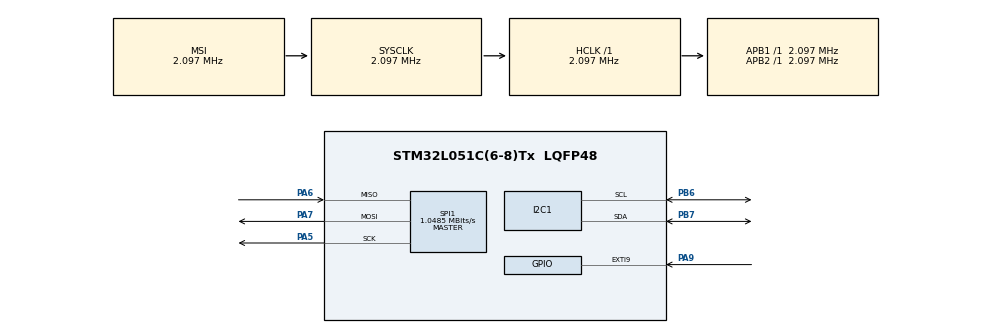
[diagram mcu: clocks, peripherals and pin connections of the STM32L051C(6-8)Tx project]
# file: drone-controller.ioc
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Mcu.Family=STM32L0
Mcu.Name=STM32L051C(6-8)Tx
Mcu.Package=LQFP48
NVIC.EXTI4_15_IRQn=true\:0\:0\:false\:false\:true\:true\:true\:true
PA5.Mode=Full_Duplex_Master
PA5.Signal=SPI1_SCK
PA6.Mode=Full_Duplex_Master
PA6.Signal=SPI1_MISO
PA7.Mode=Full_Duplex_Master
PA7.Signal=SPI1_MOSI
PA9.GPIO_ModeDefaultEXTI=GPIO_MODE_IT_FALLING
PA9.Signal=GPXTI9
PB6.Mode=I2C
PB6.Signal=I2C1_SCL
PB7.Mode=I2C
PB7.Signal=I2C1_SDA
ProjectManager.HeapSize=0x200
ProjectManager.StackSize=0x400
ProjectManager.TargetToolchain=STM32CubeIDE
RCC.AHBFreq_Value=2097000
RCC.APB1Freq_Value=2097000
RCC.APB1TimFreq_Value=2097000
RCC.APB2Freq_Value=2097000
RCC.APB2TimFreq_Value=2097000
RCC.HSE_VALUE=8000000
RCC.HSI16_VALUE=16000000
RCC.HSI_VALUE=16000000
RCC.LSE_VALUE=32768
RCC.MSI_VALUE=2097000
RCC.SYSCLKFreq_VALUE=2097000
RCC.VCOOutputFreq_Value=48000000
SPI1.CalculateBaudRate=1.0485 MBits/s
SPI1.DataSize=SPI_DATASIZE_16BIT
SPI1.Direction=SPI_DIRECTION_2LINES
SPI1.Mode=SPI_MODE_MASTER
SPI1.VirtualType=VM_MASTER
board=custom

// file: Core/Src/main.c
/* USER CODE BEGIN Header */
/**
  ******************************************************************************
  * @file           : main.c
  * @brief          : Main program body
  ******************************************************************************
  * @attention
  *
  * Copyright (c) 2024 STMicroelectronics.
  * All rights reserved.
  *
  * This software is licensed under terms that can be found in the LICENSE file
  * in the root directory of this software component.
  * If no LICENSE file comes with this software, it is provided AS-IS.
  *
  ******************************************************************************
  */
/* USER CODE END Header */
#include "main.h"

/* USER CODE BEGIN Includes */
#include "cc2500.h"
#include "icp10100.h"
#include "icm42688.h"
#include "pid.h"
#include "sensor.h"
/* USER CODE END Includes */

I2C_HandleTypeDef hi2c1;

SPI_HandleTypeDef hspi1;

void SystemClock_Config(void);
static void MX_GPIO_Init(void);
static void MX_I2C1_Init(void);
static void MX_SPI1_Init(void);

/* USER CODE BEGIN 0 */
#define SAMPLE_PERIOD 0.005

CC2500_Packet current_packet = {
		.id=0,
		.payload={0,0,0,0}
}; // The current packet received by the CC2500
pid height_pid = {
		.prev_error=0,
		.dt=SAMPLE_PERIOD,
		.integrator=0,
		.kd=0.05,
		.ki=0.5,
		.kp=200
}; // The PID used for height control. Parameters determined by Python modeling
// for 1m/s altitude increase by barometer readings

// SENSORS START
accelerometer *accelerometer_sensor;
barometer *barometer_sensor;
rotor rotors[4] = {{.speed=0}, {.speed=0}, {.speed=0}, {.speed=0}}; // The rotors
// SENSORS END

/* USER CODE END 0 */

int main(void)
{

  /* MCU Configuration--------------------------------------------------------*/

  /* Reset of all peripherals, Initializes the Flash interface and the Systick. */
  HAL_Init();

  /* Configure the system clock */
  SystemClock_Config();

  /* Initialize all configured peripherals */
  MX_GPIO_Init();
  MX_I2C1_Init();
  MX_SPI1_Init();
  /* USER CODE BEGIN 2 */

  // Initializes the necessary drivers for the CC2500, ICP10100 and ICM42688
  if (CC2500_Init()) {
	  // TODO: Do something.. if the driver here hasn't set up.
  }
  if (ICP10100_Init()) {
	  // TODO: Do something.. if the driver here hasn't set up.
  }
  if (ICM42688_Setup()) {
	  // TODO: Do something.. if the driver here hasn't set up.
  }

  /* USER CODE END 2 */

  /* Infinite loop */
  while (1)
  {
  }
}

void SystemClock_Config(void)
{
  RCC_OscInitTypeDef RCC_OscInitStruct = {0};
  RCC_ClkInitTypeDef RCC_ClkInitStruct = {0};
  RCC_PeriphCLKInitTypeDef PeriphClkInit = {0};

  /** Configure the main internal regulator output voltage
  */
  __HAL_PWR_VOLTAGESCALING_CONFIG(PWR_REGULATOR_VOLTAGE_SCALE1);

  /** Initializes the RCC Oscillators according to the specified parameters
  * in the RCC_OscInitTypeDef structure.
  */
  RCC_OscInitStruct.OscillatorType = RCC_OSCILLATORTYPE_MSI;
  RCC_OscInitStruct.MSIState = RCC_MSI_ON;
  RCC_OscInitStruct.MSICalibrationValue = 0;
  RCC_OscInitStruct.MSIClockRange = RCC_MSIRANGE_5;
  RCC_OscInitStruct.PLL.PLLState = RCC_PLL_NONE;
  if (HAL_RCC_OscConfig(&RCC_OscInitStruct) != HAL_OK)
  {
    Error_Handler();
  }

  /** Initializes the CPU, AHB and APB buses clocks
  */
  RCC_ClkInitStruct.ClockType = RCC_CLOCKTYPE_HCLK|RCC_CLOCKTYPE_SYSCLK
                              |RCC_CLOCKTYPE_PCLK1|RCC_CLOCKTYPE_PCLK2;
  RCC_ClkInitStruct.SYSCLKSource = RCC_SYSCLKSOURCE_MSI;
  RCC_ClkInitStruct.AHBCLKDivider = RCC_SYSCLK_DIV1;
  RCC_ClkInitStruct.APB1CLKDivider = RCC_HCLK_DIV1;
  RCC_ClkInitStruct.APB2CLKDivider = RCC_HCLK_DIV1;

  if (HAL_RCC_ClockConfig(&RCC_ClkInitStruct, FLASH_LATENCY_0) != HAL_OK)
  {
    Error_Handler();
  }
  PeriphClkInit.PeriphClockSelection = RCC_PERIPHCLK_I2C1;
  PeriphClkInit.I2c1ClockSelection = RCC_I2C1CLKSOURCE_PCLK1;
  if (HAL_RCCEx_PeriphCLKConfig(&PeriphClkInit) != HAL_OK)
  {
    Error_Handler();
  }
}

static void MX_I2C1_Init(void)
{

  hi2c1.Instance = I2C1;
  hi2c1.Init.Timing = 0x00000708;
  hi2c1.Init.OwnAddress1 = 0;
  hi2c1.Init.AddressingMode = I2C_ADDRESSINGMODE_7BIT;
  hi2c1.Init.DualAddressMode = I2C_DUALADDRESS_DISABLE;
  hi2c1.Init.OwnAddress2 = 0;
  hi2c1.Init.OwnAddress2Masks = I2C_OA2_NOMASK;
  hi2c1.Init.GeneralCallMode = I2C_GENERALCALL_DISABLE;
  hi2c1.Init.NoStretchMode = I2C_NOSTRETCH_DISABLE;
  if (HAL_I2C_Init(&hi2c1) != HAL_OK)
  {
    Error_Handler();
  }

  /** Configure Analogue filter
  */
  if (HAL_I2CEx_ConfigAnalogFilter(&hi2c1, I2C_ANALOGFILTER_ENABLE) != HAL_OK)
  {
    Error_Handler();
  }

  /** Configure Digital filter
  */
  if (HAL_I2CEx_ConfigDigitalFilter(&hi2c1, 0) != HAL_OK)
  {
    Error_Handler();
  }

}

static void MX_SPI1_Init(void)
{

  /* SPI1 parameter configuration*/
  hspi1.Instance = SPI1;
  hspi1.Init.Mode = SPI_MODE_MASTER;
  hspi1.Init.Direction = SPI_DIRECTION_2LINES;
  hspi1.Init.DataSize = SPI_DATASIZE_16BIT;
  hspi1.Init.CLKPolarity = SPI_POLARITY_LOW;
  hspi1.Init.CLKPhase = SPI_PHASE_1EDGE;
  hspi1.Init.NSS = SPI_NSS_SOFT;
  hspi1.Init.BaudRatePrescaler = SPI_BAUDRATEPRESCALER_2;
  hspi1.Init.FirstBit = SPI_FIRSTBIT_MSB;
  hspi1.Init.TIMode = SPI_TIMODE_DISABLE;
  hspi1.Init.CRCCalculation = SPI_CRCCALCULATION_DISABLE;
  hspi1.Init.CRCPolynomial = 7;
  if (HAL_SPI_Init(&hspi1) != HAL_OK)
  {
    Error_Handler();
  }

}

static void MX_GPIO_Init(void)
{
  GPIO_InitTypeDef GPIO_InitStruct = {0};

  /* GPIO Ports Clock Enable */
  __HAL_RCC_GPIOA_CLK_ENABLE();
  __HAL_RCC_GPIOB_CLK_ENABLE();

  /*Configure GPIO pin : PA9 */
  GPIO_InitStruct.Pin = GPIO_PIN_9;
  GPIO_InitStruct.Mode = GPIO_MODE_IT_FALLING;
  GPIO_InitStruct.Pull = GPIO_NOPULL;
  HAL_GPIO_Init(GPIOA, &GPIO_InitStruct);

  /* EXTI interrupt init*/
  HAL_NVIC_SetPriority(EXTI4_15_IRQn, 0, 0);
  HAL_NVIC_EnableIRQ(EXTI4_15_IRQn);

}

/* USER CODE BEGIN 4 */

// Handles the external interrupt callback of our CC2500.
void HAL_GPIO_EXTI_Callback(uint16_t GPIO_Pin) {
	if (GPIO_Pin != 9) { // Right now, we only care about interrupts coming from the CC2500
		return;
	}
	CC2500_ReceivePacket(&current_packet);
}
/* USER CODE END 4 */

void Error_Handler(void)
{
  __disable_irq();
  while (1)
  {
  }
}
